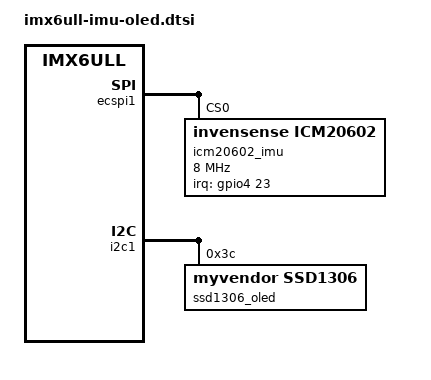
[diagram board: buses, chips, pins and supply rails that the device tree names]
/*
 * ICM20602 + SSD1306 add-on for the 100ASK i.MX6ULL board DTS files.
 *
 * Audited base files:
 *   100ask_imx6ull_mini.dts
 *   100ask_imx6ull-14x14.dts
 *
 * Both base files already enable ECSPI1 and I2C1 and provide their bus
 * pinctrl and GPIO chip-select definitions.  Keep those board definitions
 * unchanged and add only the two client devices plus a candidate DRDY pad.
 * See README.md before wiring: CSI_DATA02 must be confirmed at the board
 * connector/schematic before this fragment is deployed.
 */

#include <dt-bindings/interrupt-controller/irq.h>

&iomuxc {
	imx6ull-imu-oled {
		pinctrl_icm20602_drdy: icm20602drdygrp {
			fsl,pins = <
				/* Matches the pad style used by the board's ICM20608 IRQ. */
				MX6UL_PAD_CSI_DATA02__GPIO4_IO23 0x000010B0
			>;
		};
	};
};

&ecspi1 {
	icm20602_imu: imu@0 {
		compatible = "invensense,icm20602";
		reg = <0>;
		spi-max-frequency = <8000000>;

		/* No spi-cpol/spi-cpha properties: SPI mode 0. */
		pinctrl-names = "default";
		pinctrl-0 = <&pinctrl_icm20602_drdy>;
		interrupt-parent = <&gpio4>;
		interrupts = <23 IRQ_TYPE_EDGE_RISING>;

		status = "okay";
	};
};

&i2c1 {
	ssd1306_oled: oled@3c {
		compatible = "myvendor,ssd1306";
		reg = <0x3c>;
		status = "okay";
	};
};
